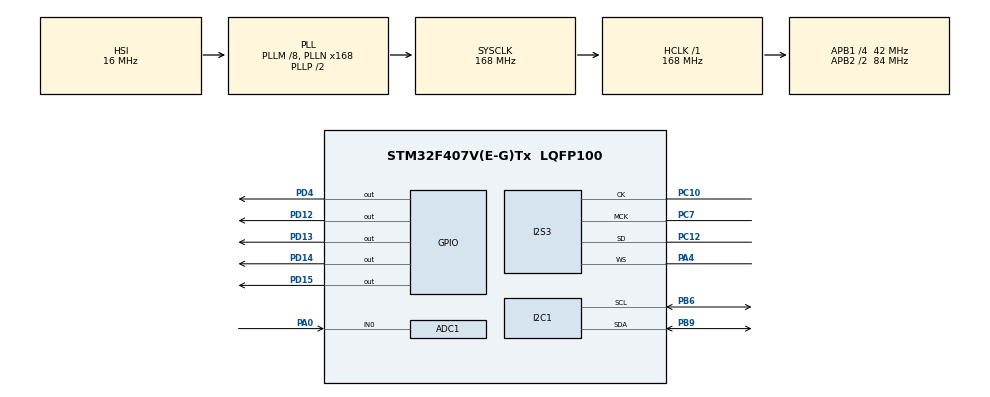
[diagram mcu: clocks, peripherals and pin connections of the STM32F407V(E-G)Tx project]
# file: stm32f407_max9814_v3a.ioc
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ADC1.Channel-1\#ChannelRegularConversion=ADC_CHANNEL_0
ADC1.DMAContinuousRequests=DISABLE
ADC1.ExternalTrigConv=ADC_EXTERNALTRIGCONV_T2_TRGO
ADC1.NbrOfConversionFlag=1
ADC1.Rank-1\#ChannelRegularConversion=1
ADC1.Resolution=ADC_RESOLUTION_12B
ADC1.SamplingTime-1\#ChannelRegularConversion=ADC_SAMPLETIME_3CYCLES
ADC1.master=1
Dma.ADC1.1.Direction=DMA_PERIPH_TO_MEMORY
Dma.ADC1.1.FIFOMode=DMA_FIFOMODE_ENABLE
Dma.ADC1.1.FIFOThreshold=DMA_FIFO_THRESHOLD_HALFFULL
Dma.ADC1.1.Instance=DMA2_Stream0
Dma.ADC1.1.MemBurst=DMA_MBURST_SINGLE
Dma.ADC1.1.MemDataAlignment=DMA_MDATAALIGN_HALFWORD
Dma.ADC1.1.MemInc=DMA_MINC_ENABLE
Dma.ADC1.1.Mode=DMA_NORMAL
Dma.ADC1.1.PeriphBurst=DMA_PBURST_SINGLE
Dma.ADC1.1.PeriphDataAlignment=DMA_PDATAALIGN_HALFWORD
Dma.ADC1.1.PeriphInc=DMA_PINC_DISABLE
Dma.ADC1.1.Priority=DMA_PRIORITY_LOW
Dma.Request0=SPI3_TX
Dma.Request1=ADC1
Dma.SPI3_TX.0.Direction=DMA_MEMORY_TO_PERIPH
Dma.SPI3_TX.0.FIFOMode=DMA_FIFOMODE_ENABLE
Dma.SPI3_TX.0.FIFOThreshold=DMA_FIFO_THRESHOLD_HALFFULL
Dma.SPI3_TX.0.Instance=DMA1_Stream7
Dma.SPI3_TX.0.MemBurst=DMA_MBURST_SINGLE
Dma.SPI3_TX.0.MemDataAlignment=DMA_MDATAALIGN_HALFWORD
Dma.SPI3_TX.0.MemInc=DMA_MINC_ENABLE
Dma.SPI3_TX.0.Mode=DMA_CIRCULAR
Dma.SPI3_TX.0.PeriphBurst=DMA_PBURST_SINGLE
Dma.SPI3_TX.0.PeriphDataAlignment=DMA_PDATAALIGN_HALFWORD
Dma.SPI3_TX.0.PeriphInc=DMA_PINC_DISABLE
Dma.SPI3_TX.0.Priority=DMA_PRIORITY_LOW
I2S3.AudioFreq=I2S_AUDIOFREQ_48K
I2S3.DataFormat=I2S_DATAFORMAT_16B
I2S3.ErrorAudioFreq=-2.34 %
I2S3.FullDuplexMode=I2S_FULLDUPLEXMODE_DISABLE
I2S3.Instance=SPI$Index
I2S3.RealAudioFreq=46.875 KHz
I2S3.VirtualMode=I2S_MODE_MASTER
Mcu.Family=STM32F4
Mcu.Name=STM32F407V(E-G)Tx
Mcu.Package=LQFP100
NVIC.DMA1_Stream7_IRQn=true\:0\:0\:false\:false\:true\:false\:true\:true
NVIC.DMA2_Stream0_IRQn=true\:0\:0\:false\:false\:true\:false\:true\:true
NVIC.PriorityGroup=NVIC_PRIORITYGROUP_0
PA0-WKUP.Signal=ADCx_IN0
PA13.Mode=Serial_Wire
PA13.Signal=SYS_JTMS-SWDIO
PA14.Mode=Serial_Wire
PA14.Signal=SYS_JTCK-SWCLK
PA4.Mode=Half_Duplex_Master
PA4.Signal=I2S3_WS
PB6.Mode=I2C
PB6.Signal=I2C1_SCL
PB9.Mode=I2C
PB9.Signal=I2C1_SDA
PC10.Mode=Half_Duplex_Master
PC10.Signal=I2S3_CK
PC12.Mode=Half_Duplex_Master
PC12.Signal=I2S3_SD
PC7.Mode=Master_Clock_Activated
PC7.Signal=I2S3_MCK
PD12.Signal=GPIO_Output
PD13.Signal=GPIO_Output
PD14.Signal=GPIO_Output
PD15.Signal=GPIO_Output
PD4.Signal=GPIO_Output
PH0-OSC_IN.Mode=HSE-External-Oscillator
PH0-OSC_IN.Signal=RCC_OSC_IN
PH1-OSC_OUT.Mode=HSE-External-Oscillator
PH1-OSC_OUT.Signal=RCC_OSC_OUT
ProjectManager.HeapSize=0x200
ProjectManager.StackSize=0x400
ProjectManager.TargetToolchain=MDK-ARM V5.32
RCC.48MHZClocksFreq_Value=48000000
RCC.AHBFreq_Value=168000000
RCC.APB1CLKDivider=RCC_HCLK_DIV4
RCC.APB1Freq_Value=42000000
RCC.APB1TimFreq_Value=84000000
RCC.APB2CLKDivider=RCC_HCLK_DIV2
RCC.APB2Freq_Value=84000000
RCC.APB2TimFreq_Value=168000000
RCC.CortexFreq_Value=168000000
RCC.HCLKFreq_Value=168000000
RCC.HSE_VALUE=24576000
RCC.HSI_VALUE=16000000
RCC.LSE_VALUE=32768
RCC.PLLM=8
RCC.PLLN=168
RCC.PLLQ=7
RCC.SYSCLKFreq_VALUE=168000000
RCC.SYSCLKSource=RCC_SYSCLKSOURCE_PLLCLK
RCC.VCOOutputFreq_Value=336000000
SH.ADCx_IN0.0=ADC1_IN0,IN0
TIM2.AutoReloadPreload=TIM_AUTORELOAD_PRELOAD_ENABLE
TIM2.Period=839
TIM2.Prescaler=0
TIM2.TIM_MasterOutputTrigger=TIM_TRGO_UPDATE
VP_TIM2_VS_ClockSourceINT.Mode=Internal
board=STM32F407G-DISC1

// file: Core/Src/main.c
/* USER CODE BEGIN Header */
/**
  ******************************************************************************
  * @file           : main.c
  * @brief          : Main program body
  ******************************************************************************
  * @attention
  *
  * Copyright (c) 2023 STMicroelectronics.
  * All rights reserved.
  *
  * This software is licensed under terms that can be found in the LICENSE file
  * in the root directory of this software component.
  * If no LICENSE file comes with this software, it is provided AS-IS.
  *
  ******************************************************************************
  */
/* USER CODE END Header */
#include "main.h"

/* USER CODE BEGIN Includes */
#include "MY_CS43L22.h"
/* USER CODE END Includes */

ADC_HandleTypeDef hadc1;
DMA_HandleTypeDef hdma_adc1;

I2C_HandleTypeDef hi2c1;

I2S_HandleTypeDef hi2s3;
DMA_HandleTypeDef hdma_spi3_tx;

TIM_HandleTypeDef htim2;

/* USER CODE BEGIN PV */
#define DATASIZE 2048U

//pointers to the half buffer which should be processed
static volatile uint16_t inbufPtr[2*DATASIZE]; // gia tri bien thay doi
static volatile uint16_t outbufPtr[2*2*DATASIZE];

static volatile uint32_t i2s_half = 0U;
static volatile uint32_t i2s_full = 0U;

static volatile uint32_t adc_half = 0U;
static volatile uint32_t adc_full = 0U;

/* USER CODE END PV */

void SystemClock_Config(void);
static void MX_GPIO_Init(void);
static void MX_DMA_Init(void);
static void MX_ADC1_Init(void);
static void MX_TIM2_Init(void);
static void MX_I2C1_Init(void);
static void MX_I2S3_Init(void);

int main(void)
{

  /* MCU Configuration--------------------------------------------------------*/

  /* Reset of all peripherals, Initializes the Flash interface and the Systick. */
  HAL_Init();

  /* Configure the system clock */
  SystemClock_Config();

  /* Initialize all configured peripherals */
  MX_GPIO_Init();
  MX_DMA_Init();
  MX_ADC1_Init();
  MX_TIM2_Init();
  MX_I2C1_Init();
  MX_I2S3_Init();
  /* USER CODE BEGIN 2 */
	HAL_TIM_Base_Start(&htim2);

	// start codec cs43l22 in I2S mode
	CS43_Init(hi2c1,MODE_I2S);
	CS43_SetVolume(30);
	CS43_Enable_RightLeft(CS43_RIGHT_LEFT);
	CS43_Start();
	// start I2S
	HAL_I2S_Transmit_DMA(&hi2s3,(uint16_t*)outbufPtr,2*2*DATASIZE);

  /* USER CODE END 2 */

  /* Infinite loop */
  while (1)
  {

    /* USER CODE BEGIN 3 */
		//process_dsp();
		/* Wait for half transfer complete */
		while(i2s_half == 0U);// khi no bang 0 thi ko lam gi
		i2s_half = 0U;// khi no bang 1 thi se nhay ra va cho lai bang 0 cho lan tiep theo
		/* Duplicate samples for left and right channels and store them
		 * in the output buffer */
		for(int i =0 ;i<DATASIZE; ++i)
		{
			outbufPtr[2*i] = (inbufPtr[i]);
			outbufPtr[2*i+1] = (inbufPtr[i]);
		}

		while(i2s_full == 0U);
		i2s_full = 0U;
		for(int i =DATASIZE;i<2*DATASIZE; ++i)
		{
			outbufPtr[2*i] = (inbufPtr[i]);
			outbufPtr[2*i+1] = (inbufPtr[i]);
		}
  }
  /* USER CODE END 3 */
}

void SystemClock_Config(void)
{
  RCC_OscInitTypeDef RCC_OscInitStruct = {0};
  RCC_ClkInitTypeDef RCC_ClkInitStruct = {0};

  /** Configure the main internal regulator output voltage
  */
  __HAL_RCC_PWR_CLK_ENABLE();
  __HAL_PWR_VOLTAGESCALING_CONFIG(PWR_REGULATOR_VOLTAGE_SCALE1);

  /** Initializes the RCC Oscillators according to the specified parameters
  * in the RCC_OscInitTypeDef structure.
  */
  RCC_OscInitStruct.OscillatorType = RCC_OSCILLATORTYPE_HSI;
  RCC_OscInitStruct.HSIState = RCC_HSI_ON;
  RCC_OscInitStruct.HSICalibrationValue = RCC_HSICALIBRATION_DEFAULT;
  RCC_OscInitStruct.PLL.PLLState = RCC_PLL_ON;
  RCC_OscInitStruct.PLL.PLLSource = RCC_PLLSOURCE_HSI;
  RCC_OscInitStruct.PLL.PLLM = 8;
  RCC_OscInitStruct.PLL.PLLN = 168;
  RCC_OscInitStruct.PLL.PLLP = RCC_PLLP_DIV2;
  RCC_OscInitStruct.PLL.PLLQ = 7;
  if (HAL_RCC_OscConfig(&RCC_OscInitStruct) != HAL_OK)
  {
    Error_Handler();
  }

  /** Initializes the CPU, AHB and APB buses clocks
  */
  RCC_ClkInitStruct.ClockType = RCC_CLOCKTYPE_HCLK|RCC_CLOCKTYPE_SYSCLK
                              |RCC_CLOCKTYPE_PCLK1|RCC_CLOCKTYPE_PCLK2;
  RCC_ClkInitStruct.SYSCLKSource = RCC_SYSCLKSOURCE_PLLCLK;
  RCC_ClkInitStruct.AHBCLKDivider = RCC_SYSCLK_DIV1;
  RCC_ClkInitStruct.APB1CLKDivider = RCC_HCLK_DIV4;
  RCC_ClkInitStruct.APB2CLKDivider = RCC_HCLK_DIV2;

  if (HAL_RCC_ClockConfig(&RCC_ClkInitStruct, FLASH_LATENCY_5) != HAL_OK)
  {
    Error_Handler();
  }
}

static void MX_ADC1_Init(void)
{

  ADC_ChannelConfTypeDef sConfig = {0};

  /** Configure the global features of the ADC (Clock, Resolution, Data Alignment and number of conversion)
  */
  hadc1.Instance = ADC1;
  hadc1.Init.ClockPrescaler = ADC_CLOCK_SYNC_PCLK_DIV4;
  hadc1.Init.Resolution = ADC_RESOLUTION_12B;
  hadc1.Init.ScanConvMode = DISABLE;
  hadc1.Init.ContinuousConvMode = DISABLE;
  hadc1.Init.DiscontinuousConvMode = DISABLE;
  hadc1.Init.ExternalTrigConvEdge = ADC_EXTERNALTRIGCONVEDGE_RISING;
  hadc1.Init.ExternalTrigConv = ADC_EXTERNALTRIGCONV_T2_TRGO;
  hadc1.Init.DataAlign = ADC_DATAALIGN_RIGHT;
  hadc1.Init.NbrOfConversion = 1;
  hadc1.Init.DMAContinuousRequests = DISABLE;
  hadc1.Init.EOCSelection = ADC_EOC_SINGLE_CONV;
  if (HAL_ADC_Init(&hadc1) != HAL_OK)
  {
    Error_Handler();
  }

  /** Configure for the selected ADC regular channel its corresponding rank in the sequencer and its sample time.
  */
  sConfig.Channel = ADC_CHANNEL_0;
  sConfig.Rank = 1;
  sConfig.SamplingTime = ADC_SAMPLETIME_3CYCLES;
  if (HAL_ADC_ConfigChannel(&hadc1, &sConfig) != HAL_OK)
  {
    Error_Handler();
  }

}

static void MX_I2C1_Init(void)
{

  hi2c1.Instance = I2C1;
  hi2c1.Init.ClockSpeed = 100000;
  hi2c1.Init.DutyCycle = I2C_DUTYCYCLE_2;
  hi2c1.Init.OwnAddress1 = 0;
  hi2c1.Init.AddressingMode = I2C_ADDRESSINGMODE_7BIT;
  hi2c1.Init.DualAddressMode = I2C_DUALADDRESS_DISABLE;
  hi2c1.Init.OwnAddress2 = 0;
  hi2c1.Init.GeneralCallMode = I2C_GENERALCALL_DISABLE;
  hi2c1.Init.NoStretchMode = I2C_NOSTRETCH_DISABLE;
  if (HAL_I2C_Init(&hi2c1) != HAL_OK)
  {
    Error_Handler();
  }

}

static void MX_I2S3_Init(void)
{

  hi2s3.Instance = SPI3;
  hi2s3.Init.Mode = I2S_MODE_MASTER_TX;
  hi2s3.Init.Standard = I2S_STANDARD_PHILIPS;
  hi2s3.Init.DataFormat = I2S_DATAFORMAT_16B;
  hi2s3.Init.MCLKOutput = I2S_MCLKOUTPUT_ENABLE;
  hi2s3.Init.AudioFreq = I2S_AUDIOFREQ_48K;
  hi2s3.Init.CPOL = I2S_CPOL_LOW;
  hi2s3.Init.ClockSource = I2S_CLOCK_PLL;
  hi2s3.Init.FullDuplexMode = I2S_FULLDUPLEXMODE_DISABLE;
  if (HAL_I2S_Init(&hi2s3) != HAL_OK)
  {
    Error_Handler();
  }

}

static void MX_TIM2_Init(void)
{

  TIM_ClockConfigTypeDef sClockSourceConfig = {0};
  TIM_MasterConfigTypeDef sMasterConfig = {0};

  htim2.Instance = TIM2;
  htim2.Init.Prescaler = 9;
  htim2.Init.CounterMode = TIM_COUNTERMODE_UP;
  htim2.Init.Period = 174;
  htim2.Init.ClockDivision = TIM_CLOCKDIVISION_DIV1;
  htim2.Init.AutoReloadPreload = TIM_AUTORELOAD_PRELOAD_ENABLE;
  if (HAL_TIM_Base_Init(&htim2) != HAL_OK)
  {
    Error_Handler();
  }
  sClockSourceConfig.ClockSource = TIM_CLOCKSOURCE_INTERNAL;
  if (HAL_TIM_ConfigClockSource(&htim2, &sClockSourceConfig) != HAL_OK)
  {
    Error_Handler();
  }
  sMasterConfig.MasterOutputTrigger = TIM_TRGO_UPDATE;
  sMasterConfig.MasterSlaveMode = TIM_MASTERSLAVEMODE_DISABLE;
  if (HAL_TIMEx_MasterConfigSynchronization(&htim2, &sMasterConfig) != HAL_OK)
  {
    Error_Handler();
  }

}

static void MX_DMA_Init(void)
{

  /* DMA controller clock enable */
  __HAL_RCC_DMA1_CLK_ENABLE();
  __HAL_RCC_DMA2_CLK_ENABLE();

  /* DMA interrupt init */
  /* DMA1_Stream7_IRQn interrupt configuration */
  HAL_NVIC_SetPriority(DMA1_Stream7_IRQn, 0, 0);
  HAL_NVIC_EnableIRQ(DMA1_Stream7_IRQn);
  /* DMA2_Stream0_IRQn interrupt configuration */
  HAL_NVIC_SetPriority(DMA2_Stream0_IRQn, 0, 0);
  HAL_NVIC_EnableIRQ(DMA2_Stream0_IRQn);

}

static void MX_GPIO_Init(void)
{
  GPIO_InitTypeDef GPIO_InitStruct = {0};

  /* GPIO Ports Clock Enable */
  __HAL_RCC_GPIOH_CLK_ENABLE();
  __HAL_RCC_GPIOA_CLK_ENABLE();
  __HAL_RCC_GPIOD_CLK_ENABLE();
  __HAL_RCC_GPIOC_CLK_ENABLE();
  __HAL_RCC_GPIOB_CLK_ENABLE();

  /*Configure GPIO pin Output Level */
  HAL_GPIO_WritePin(GPIOD, GPIO_PIN_12|GPIO_PIN_13|GPIO_PIN_14|GPIO_PIN_15
                          |GPIO_PIN_4, GPIO_PIN_RESET);

  /*Configure GPIO pins : PD12 PD13 PD14 PD15
                           PD4 */
  GPIO_InitStruct.Pin = GPIO_PIN_12|GPIO_PIN_13|GPIO_PIN_14|GPIO_PIN_15
                          |GPIO_PIN_4;
  GPIO_InitStruct.Mode = GPIO_MODE_OUTPUT_PP;
  GPIO_InitStruct.Pull = GPIO_NOPULL;
  GPIO_InitStruct.Speed = GPIO_SPEED_FREQ_LOW;
  HAL_GPIO_Init(GPIOD, &GPIO_InitStruct);

}

/* USER CODE BEGIN 4 */
void HAL_ADC_ConvHalfCpltCallback(ADC_HandleTypeDef* hadc)
{
	HAL_GPIO_TogglePin(GPIOD, GPIO_PIN_12);
	adc_half = 1U;
}

void HAL_ADC_ConvCpltCallback(ADC_HandleTypeDef* hadc)
{
	HAL_GPIO_TogglePin(GPIOD, GPIO_PIN_13);
	adc_full = 1U;
}

void HAL_I2S_TxHalfCpltCallback(I2S_HandleTypeDef *hi2s)
{
	i2s_half = 1U;
	HAL_GPIO_TogglePin(GPIOD, GPIO_PIN_14);
	HAL_ADC_Start_DMA(&hadc1, (uint32_t*)inbufPtr, DATASIZE);
}

void HAL_I2S_TxCpltCallback(I2S_HandleTypeDef *hi2s)
{
	i2s_full = 1U;
	HAL_GPIO_TogglePin(GPIOD, GPIO_PIN_15);
	HAL_ADC_Start_DMA(&hadc1, (uint32_t*)(inbufPtr + DATASIZE), DATASIZE);
}
/* USER CODE END 4 */

void Error_Handler(void)
{
  __disable_irq();
  while (1)
  {
  }
}
